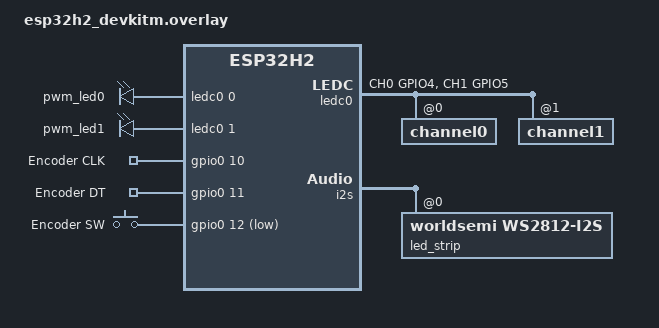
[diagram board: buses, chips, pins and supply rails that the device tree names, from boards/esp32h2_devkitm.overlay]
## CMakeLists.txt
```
# SPDX-License-Identifier: Apache-2.0

cmake_minimum_required(VERSION 3.20.0)

find_package(Zephyr REQUIRED HINTS $ENV{ZEPHYR_BASE})
project(smart_wake_up_light)

target_include_directories(app PRIVATE src)
target_sources(app PRIVATE
    src/main.c
    src/led_control.c
    src/encoder.c
    src/status_led.c
    src/logic/light_model.c
    src/logic/coap_payload.c
    src/logic/encoder_decoder.c
    src/network/ot_manager.c
    src/network/coap_wakeup_server.c
    src/network/srp_service.c
)

include(${CMAKE_CURRENT_SOURCE_DIR}/local/app.cmake OPTIONAL)
```

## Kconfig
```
mainmenu "Smart Wake Up Light"

menu "Wake-up light settings"

config WAKEUP_DEFAULT_BRIGHTNESS
    int "Initial night light brightness in percent"
    range 0 100
    default 10

config WAKEUP_MAX_DURATION_S
    int "Maximum remote wake-up duration in seconds"
    range 1 86400
    default 3600

config WAKEUP_ANIMATION_STEPS
    int "Target animation updates during wake-up"
    range 1 5000
    default 1000

config WAKEUP_BUTTON_DEBOUNCE_MS
    int "Encoder button debounce interval in milliseconds"
    range 20 1000
    default 200

config WAKEUP_ROUTER_PROMOTION_DELAY_S
    int "Wait before explicit router promotion, seconds"
    range 1 120
    default 5

config WAKEUP_SRP_HOST_NAME
    string "SRP host name"
    default "smart-wakeup-light-h2"

config WAKEUP_SRP_INSTANCE_NAME
    string "SRP service instance name"
    default "Smart Wakeup Light H2"

endmenu

orsource "local/Kconfig"

source "Kconfig.zephyr"
```

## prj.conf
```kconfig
# Rotary encoder
CONFIG_GPIO=y

# LED Strip
CONFIG_PWM=y

# Application
CONFIG_MAIN_STACK_SIZE=5096
CONFIG_BOOT_DELAY=500
CONFIG_LOG=y


# Openthread and Coap
CONFIG_NETWORKING=y
CONFIG_NET_L2_OPENTHREAD=y
CONFIG_COAP=y
CONFIG_OPENTHREAD_COAP=y
CONFIG_OPENTHREAD_MLE_INFORM_PREVIOUS_PARENT_ON_REATTACH=y
CONFIG_OPENTHREAD_POWER_SUPPLY_EXTERNAL_STABLE=y
CONFIG_OPENTHREAD_PARENT_SEARCH=y
CONFIG_OPENTHREAD_FTD=y


CONFIG_NET_BUF_RX_COUNT=32
CONFIG_NET_BUF_TX_COUNT=32
CONFIG_NET_PKT_RX_COUNT=10
CONFIG_NET_PKT_TX_COUNT=10

# SRP
CONFIG_OPENTHREAD_SRP_CLIENT=y
CONFIG_OPENTHREAD_NETDIAG_VENDOR_INFO=y

## Important to get an IP reachable from out of the thread network
CONFIG_OPENTHREAD_SLAAC=y

# Stack config
CONFIG_MBEDTLS_HEAP_SIZE=8192



# Flash and NVS
CONFIG_FLASH=y
CONFIG_FLASH_PAGE_LAYOUT=y
CONFIG_FLASH_MAP=y
CONFIG_NVS=y

# Settings Subsystem bind to NVS
CONFIG_SETTINGS=y
CONFIG_SETTINGS_NVS=y

CONFIG_OPENTHREAD_SETTINGS_RAM=n

# RGB STATUS LED
CONFIG_I2S=y
CONFIG_LED_STRIP=y
CONFIG_WS2812_STRIP_I2S=y
```

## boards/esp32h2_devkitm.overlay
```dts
#include <zephyr/dt-bindings/pwm/pwm.h>
#include <zephyr/dt-bindings/led/led.h>


/ {
    aliases {
        pwm-ww = &pwm_led1;
        pwm-cw = &pwm_led0;
        enc-clk = &enc_clk_node;
        enc-dt = &enc_dt_node;
        enc-sw = &enc_sw_node;
        led-strip = &led_strip;
    };

    pwmleds {
        compatible = "pwm-leds";
        pwm_led0: pwm_led_0 {
            pwms = <&ledc0 0 1000000 PWM_POLARITY_NORMAL>;
        };
        pwm_led1: pwm_led_1 {
            pwms = <&ledc0 1 1000000 PWM_POLARITY_NORMAL>;
        };
    };

    gpio_keys {
        compatible = "gpio-keys";
        enc_clk_node: enc_clk {
            gpios = <&gpio0 10 (GPIO_ACTIVE_HIGH | GPIO_PULL_UP)>;
            label = "Encoder CLK";
        };
        enc_dt_node: enc_dt {
            gpios = <&gpio0 11 (GPIO_ACTIVE_HIGH | GPIO_PULL_UP)>;
            label = "Encoder DT";
        };
        enc_sw_node: enc_sw {
            gpios = <&gpio0 12 (GPIO_ACTIVE_LOW | GPIO_PULL_UP)>;
            label = "Encoder SW";
        };
    };
};

&pinctrl {
    ledc0_default: ledc0_default {
        group1 {
            pinmux = <LEDC_CH0_GPIO4>,<LEDC_CH1_GPIO5>;
            output-enable;
        };
    };
};

&ledc0 {
    pinctrl-0 = <&ledc0_default>;
    pinctrl-names = "default";
    status = "okay";
    #address-cells = <1>;
    #size-cells = <0>;
    channel0@0 {
        reg = <0>;
        timer = <0>;
    };
    channel1@1 {
        reg = <1>;
        timer = <0>;
    };
};

&i2s_default {
    group1 {
                pinmux = <I2S_O_SD_GPIO8>;
            };
};

i2s_led: &i2s {
    status = "okay";

    dmas = <&dma 3>;
    dma-names = "tx";

    led_strip: ws2812@0 {
        compatible = "worldsemi,ws2812-i2s";

        reg = <0>;
        chain-length = <1>;
        color-mapping = <LED_COLOR_ID_GREEN
        LED_COLOR_ID_RED
        LED_COLOR_ID_BLUE>;
        reset-delay = <500>;
    };
};

&dma {
    status = "okay";
};
```

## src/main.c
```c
#include <openthread/coap.h>
#include <zephyr/kernel.h>
#include <zephyr/logging/log.h>

#include "encoder.h"
#include "led_control.h"
#include "network/coap_wakeup_server.h"
#include "network/ot_manager.h"
#include "network/srp_service.h"
#include "status_led.h"

LOG_MODULE_REGISTER(wake_up_main, LOG_LEVEL_INF);

static const struct ot_manager_policy thread_policy = {
    .router_promotion_delay_s = CONFIG_WAKEUP_ROUTER_PROMOTION_DELAY_S,
    .force_router_promotion = true,
    .detach_on_leader = true,
};

static const struct srp_service_config srp_config = {
    .host_name = CONFIG_WAKEUP_SRP_HOST_NAME,
    .instance_name = CONFIG_WAKEUP_SRP_INSTANCE_NAME,
    .service_type = "_smart-wakeup._udp",
    .resource_path = "/wakeup",
    .version = "1",
    .port = OT_DEFAULT_COAP_PORT,
};

/* Translate Thread roles into the indicator color. */
static void on_thread_role(otDeviceRole role, void *context) {
    ARG_UNUSED(context);
    switch (role) {
    case OT_DEVICE_ROLE_ROUTER:
        status_led_set(0, 0, 0);
        break;
    case OT_DEVICE_ROLE_CHILD:
        status_led_set(0, 20, 0);
        break;
    case OT_DEVICE_ROLE_DETACHED:
        status_led_set(20, 15, 0);
        break;
    case OT_DEVICE_ROLE_LEADER:
    case OT_DEVICE_ROLE_DISABLED:
        status_led_set(20, 0, 0);
        break;
    }
}

/* Initialize device services and start the Thread application. */
int main(void) {
    int error = led_control_init();
    if (error != 0) {
        LOG_ERR("Light control initialization failed: %d", error);
        return error;
    }
    error = encoder_init();
    if (error != 0) {
        LOG_ERR("Encoder initialization failed: %d", error);
        return error;
    }
    status_led_init();
    error = ot_manager_init(&thread_policy, on_thread_role, NULL);
    if (error != 0) {
        LOG_ERR("OpenThread initialization failed: %d", error);
        return error;
    }
    error = coap_wakeup_server_start(ot_manager_instance());
    if (error != 0) {
        LOG_ERR("CoAP initialization failed: %d", error);
        ot_manager_deinit();
        return error;
    }
    error = srp_service_register(ot_manager_instance(), &srp_config);
    if (error != 0) {
        LOG_ERR("SRP initialization failed: %d", error);
        coap_wakeup_server_stop();
        ot_manager_deinit();
        return error;
    }
    error = ot_manager_start();
    if (error != 0) {
        LOG_ERR("Thread start failed: %d", error);
        coap_wakeup_server_stop();
        ot_manager_deinit();
        return error;
    }
    LOG_INF("Smart wake-up light initialized");
    return 0;
}
```

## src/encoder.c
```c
#include "encoder.h"
#include "led_control.h"
#include "logic/encoder_decoder.h"

#include <errno.h>
#include <zephyr/device.h>
#include <zephyr/drivers/gpio.h>
#include <zephyr/kernel.h>
#include <zephyr/logging/log.h>
#include <zephyr/sys/atomic.h>

LOG_MODULE_REGISTER(encoder, LOG_LEVEL_INF);

static const struct gpio_dt_spec enc_clk = GPIO_DT_SPEC_GET(DT_ALIAS(enc_clk), gpios);
static const struct gpio_dt_spec enc_dt = GPIO_DT_SPEC_GET(DT_ALIAS(enc_dt), gpios);
static const struct gpio_dt_spec enc_sw = GPIO_DT_SPEC_GET(DT_ALIAS(enc_sw), gpios);

static struct gpio_callback clk_cb_data;
static struct gpio_callback dt_cb_data;
static struct gpio_callback sw_cb_data;
static struct k_spinlock input_lock;
static struct encoder_decoder decoder;
static uint32_t last_button_press_ms;
static bool button_seen;
static atomic_t pending_rotation;
static atomic_t pending_presses;
K_SEM_DEFINE(input_signal, 0, 1);
K_THREAD_STACK_DEFINE(input_stack, 1536);
static struct k_thread input_thread;

/* Forward accumulated encoder turns and button presses to the light controller. */
static void input_thread_entry(void *p1, void *p2, void *p3) {
    ARG_UNUSED(p1);
    ARG_UNUSED(p2);
    ARG_UNUSED(p3);
    while (true) {
        k_sem_take(&input_signal, K_FOREVER);
        atomic_val_t presses = atomic_set(&pending_presses, 0);
        for (atomic_val_t i = 0; i < presses; ++i) {
            int error = led_control_toggle();
            if (error != 0) {
                LOG_WRN("Button event rejected: %d", error);
            }
        }
        atomic_val_t rotation = atomic_set(&pending_rotation, 0);
        while (rotation != 0) {
            int8_t step = rotation > 0 ? (int8_t)MIN(rotation, 100) : (int8_t)MAX(rotation, -100);
            int error = led_control_adjust_brightness(step);
            if (error != 0) {
                LOG_WRN("Encoder step rejected: %d", error);
                atomic_add(&pending_rotation, rotation);
                k_sleep(K_MSEC(10));
                k_sem_give(&input_signal);
                break;
            }
            rotation -= step;
        }
    }
}

/* Debounce button presses in the GPIO interrupt callback. */
static void sw_pressed(const struct device *dev, struct gpio_callback *cb, uint32_t pins) {
    ARG_UNUSED(dev);
    ARG_UNUSED(cb);
    ARG_UNUSED(pins);
    uint32_t now = k_uptime_get_32();
    k_spinlock_key_t key = k_spin_lock(&input_lock);
    if (button_seen && now - last_button_press_ms < CONFIG_WAKEUP_BUTTON_DEBOUNCE_MS) {
        k_spin_unlock(&input_lock, key);
        return;
    }
    button_seen = true;
    last_button_press_ms = now;
    atomic_inc(&pending_presses);
    k_spin_unlock(&input_lock, key);
    k_sem_give(&input_signal);
}

/* Decode transitions and accumulate detents from GPIO interrupts. */
static void encoder_changed(const struct device *dev, struct gpio_callback *cb, uint32_t pins) {
    ARG_UNUSED(dev);
    ARG_UNUSED(cb);
    ARG_UNUSED(pins);
    k_spinlock_key_t key = k_spin_lock(&input_lock);
    int clk = gpio_pin_get_dt(&enc_clk);
    int dt = gpio_pin_get_dt(&enc_dt);
    if (clk >= 0 && dt >= 0) {
        int8_t step = encoder_decoder_update(&decoder, (uint8_t)((clk << 1) | dt));
        if (step != 0) {
            atomic_add(&pending_rotation, step);
            k_sem_give(&input_signal);
        }
    }
    k_spin_unlock(&input_lock, key);
}

int encoder_init(void) {
    const struct gpio_dt_spec *pins[] = {&enc_clk, &enc_dt, &enc_sw};
    for (size_t i = 0; i < ARRAY_SIZE(pins); ++i) {
        if (!gpio_is_ready_dt(pins[i])) {
            return -ENODEV;
        }
        int error = gpio_pin_configure_dt(pins[i], GPIO_INPUT);
        if (error != 0) {
            return error;
        }
    }
    int clk = gpio_pin_get_dt(&enc_clk);
    int dt = gpio_pin_get_dt(&enc_dt);
    if (clk < 0 || dt < 0) {
        return clk < 0 ? clk : dt;
    }
    encoder_decoder_init(&decoder, (uint8_t)((clk << 1) | dt));
    gpio_init_callback(&clk_cb_data, encoder_changed, BIT(enc_clk.pin));
    gpio_init_callback(&dt_cb_data, encoder_changed, BIT(enc_dt.pin));
    gpio_init_callback(&sw_cb_data, sw_pressed, BIT(enc_sw.pin));
    struct gpio_callback *callbacks[] = {&clk_cb_data, &dt_cb_data, &sw_cb_data};
    for (size_t i = 0; i < ARRAY_SIZE(pins); ++i) {
        int error = gpio_add_callback(pins[i]->port, callbacks[i]);
        if (error != 0) {
            for (size_t j = 0; j < i; ++j) {
                gpio_remove_callback(pins[j]->port, callbacks[j]);
            }
            return error;
        }
    }
    k_thread_create(&input_thread, input_stack, K_THREAD_STACK_SIZEOF(input_stack),
                    input_thread_entry, NULL, NULL, NULL, 5, 0, K_NO_WAIT);
    if (IS_ENABLED(CONFIG_THREAD_NAME)) {
        k_thread_name_set(&input_thread, "light_input");
    }
    for (size_t i = 0; i < ARRAY_SIZE(pins); ++i) {
        int error = gpio_pin_interrupt_configure_dt(pins[i], i == 2 ? GPIO_INT_EDGE_TO_ACTIVE
                                                                    : GPIO_INT_EDGE_BOTH);
        if (error != 0) {
            for (size_t j = 0; j <= i; ++j) {
                gpio_pin_interrupt_configure_dt(pins[j], GPIO_INT_DISABLE);
            }
            for (size_t j = 0; j < ARRAY_SIZE(pins); ++j) {
                gpio_remove_callback(pins[j]->port, callbacks[j]);
            }
            k_thread_abort(&input_thread);
            return error;
        }
    }
    return 0;
}
```

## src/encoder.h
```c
#ifndef ENCODER_H
#define ENCODER_H

/**Initialize the encoder control module. Return 0 on success, negative error code on failure.*/
int encoder_init(void);

#endif
```

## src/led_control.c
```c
#include "led_control.h"
#include "logic/light_model.h"

#include <errno.h>
#include <stdint.h>
#include <zephyr/device.h>
#include <zephyr/drivers/pwm.h>
#include <zephyr/kernel.h>
#include <zephyr/logging/log.h>

LOG_MODULE_REGISTER(led_control, LOG_LEVEL_INF);

static const struct pwm_dt_spec pwm_ww = PWM_DT_SPEC_GET(DT_ALIAS(pwm_ww));
static const struct pwm_dt_spec pwm_cw = PWM_DT_SPEC_GET(DT_ALIAS(pwm_cw));
static struct light_state light;
static uint16_t wakeup_progress;
static int64_t wakeup_started_ms;
static uint64_t wakeup_duration_ms;
static struct k_work_delayable wakeup_work;
static struct k_work command_work;
static struct k_work_q light_queue;
static bool initialized;
K_THREAD_STACK_DEFINE(light_stack, 2048);

enum command_type { COMMAND_TOGGLE, COMMAND_ADJUST, COMMAND_WAKEUP };

struct light_command {
    enum command_type type;
    int8_t step;
    uint32_t duration_s;
};

K_MSGQ_DEFINE(command_msgq, sizeof(struct light_command), 32, 4);

/* Calculate and apply PWM outputs for the current state. */
static void update_leds(void) {
    struct light_levels levels = light_model_output(&light, wakeup_progress);
    uint32_t warm_pulse = (uint32_t)(((uint64_t)pwm_ww.period * levels.warm_duty_bp) / 10000);
    uint32_t cold_pulse = (uint32_t)(((uint64_t)pwm_cw.period * levels.cold_duty_bp) / 10000);
    int warm_err = pwm_set_pulse_dt(&pwm_ww, warm_pulse);
    int cold_err = pwm_set_pulse_dt(&pwm_cw, cold_pulse);
    if (warm_err || cold_err) {
        LOG_ERR("PWM update failed: warm=%d cold=%d", warm_err, cold_err);
    }
}

/* Advance the time-based wake-up animation on the light workqueue. */
static void wakeup_handler(struct k_work *work) {
    ARG_UNUSED(work);
    if (light.mode != LIGHT_MODE_WAKEUP) {
        return;
    }
    uint64_t elapsed_ms = (uint64_t)(k_uptime_get() - wakeup_started_ms);
    if (elapsed_ms >= wakeup_duration_ms) {
        wakeup_progress = 1000;
        update_leds();
        LOG_INF("Wake-up complete");
        return;
    }
    wakeup_progress = (uint16_t)((elapsed_ms * 1000) / wakeup_duration_ms);
    update_leds();
    uint64_t next_step_ms = MAX(1ULL, (wakeup_duration_ms / CONFIG_WAKEUP_ANIMATION_STEPS));
    uint64_t remaining_ms = wakeup_duration_ms - elapsed_ms;
    uint32_t delay_ms = (uint32_t)MIN(next_step_ms, remaining_ms);
    k_work_reschedule_for_queue(&light_queue, &wakeup_work, K_MSEC(delay_ms));
}

/* Process queued commands in order and update light state. */
static void command_handler(struct k_work *work) {
    ARG_UNUSED(work);
    struct light_command command;
    unsigned int budget = 16;
    while (budget-- && k_msgq_get(&command_msgq, &command, K_NO_WAIT) == 0) {
        k_work_cancel_delayable(&wakeup_work);
        switch (command.type) {
        case COMMAND_TOGGLE:
            light_model_toggle(&light);
            break;
        case COMMAND_ADJUST:
            light_model_adjust(&light, command.step);
            break;
        case COMMAND_WAKEUP:
            light_model_start_wakeup(&light);
            wakeup_progress = 0;
            wakeup_started_ms = k_uptime_get();
            wakeup_duration_ms = (uint64_t)command.duration_s * 1000ULL;
            k_work_reschedule_for_queue(&light_queue, &wakeup_work, K_MSEC(1));
            break;
        }
        update_leds();
    }
    if (k_msgq_num_used_get(&command_msgq) != 0) {
        k_work_submit_to_queue(&light_queue, &command_work);
    }
}

/* Enqueue a light command or report backpressure. */
static int submit_command(struct light_command command) {
    if (!initialized) {
        return -EAGAIN;
    }
    int error = k_msgq_put(&command_msgq, &command, K_NO_WAIT);
    if (error != 0) {
        LOG_WRN("Light command queue full: %d", error);
        return -ENOBUFS;
    }
    int submitted = k_work_submit_to_queue(&light_queue, &command_work);
    if (submitted < 0) {
        LOG_ERR("Light command submission failed: %d", submitted);
        return submitted;
    }
    return 0;
}

int led_control_init(void) {
    if (!pwm_is_ready_dt(&pwm_ww) || !pwm_is_ready_dt(&pwm_cw)) {
        return -ENODEV;
    }
    light_model_init(&light, CONFIG_WAKEUP_DEFAULT_BRIGHTNESS);
    wakeup_progress = 0;
    int error_warm = pwm_set_pulse_dt(&pwm_ww, 0);
    int error_cold = pwm_set_pulse_dt(&pwm_cw, 0);
    if (error_warm || error_cold) {
        LOG_ERR("Initial PWM off failed: warm=%d cold=%d", error_warm, error_cold);
        return -EIO;
    }
    k_work_init_delayable(&wakeup_work, wakeup_handler);
    k_work_init(&command_work, command_handler);
    k_work_queue_start(&light_queue, light_stack, K_THREAD_STACK_SIZEOF(light_stack), 5, NULL);
    if (IS_ENABLED(CONFIG_THREAD_NAME)) {
        k_thread_name_set(&light_queue.thread, "light_control");
    }
    initialized = true;
    return 0;
}

int led_control_toggle(void) {
    return submit_command((struct light_command){.type = COMMAND_TOGGLE});
}

int led_control_adjust_brightness(int8_t step) {
    return submit_command((struct light_command){.type = COMMAND_ADJUST, .step = step});
}

int led_control_start_wakeup(uint32_t duration_s) {
    if (duration_s == 0 || duration_s > CONFIG_WAKEUP_MAX_DURATION_S) {
        return -EINVAL;
    }
    return submit_command((struct light_command){.type = COMMAND_WAKEUP, .duration_s = duration_s});
}
```

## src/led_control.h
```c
#ifndef LED_CONTROL_H
#define LED_CONTROL_H

#include <stdint.h>

/** Initialize the PWM channels and start the command workqueue. Return 0 on success or a negative
 * errno. */
int led_control_init(void);
/** Queue a toggle between OFF and NIGHTLIGHT; during WAKEUP, switch OFF. Return 0 if queued,
 * negative errno otherwise. */
int led_control_toggle(void);
/** Queue an encoder brightness delta; positive values brighten warm white. Return 0 if queued,
 * negative errno otherwise. */
int led_control_adjust_brightness(int8_t step);
/** Queue a new wake-up animation of duration_s seconds; duration must be within configured limits.
 * Return 0 if queued, negative errno otherwise. */
int led_control_start_wakeup(uint32_t duration_s);

#endif
```

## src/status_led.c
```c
#include "status_led.h"

#include <zephyr/device.h>
#include <zephyr/drivers/led_strip.h>
#include <zephyr/kernel.h>
#include <zephyr/logging/log.h>

LOG_MODULE_REGISTER(status_led, LOG_LEVEL_INF);

#if DT_HAS_ALIAS(led_strip)
static const struct device *const strip = DEVICE_DT_GET(DT_ALIAS(led_strip));
#else
static const struct device *const strip = NULL;
#endif

struct led_color {
    uint8_t red;
    uint8_t green;
    uint8_t blue;
};

K_MSGQ_DEFINE(status_queue, sizeof(struct led_color), 4, 4);
K_THREAD_STACK_DEFINE(status_stack, 1024);
static struct k_thread status_thread;
static bool available;

/* Apply the latest requested indicator color without blocking the caller. */
static void status_thread_entry(void *p1, void *p2, void *p3) {
    ARG_UNUSED(p1);
    ARG_UNUSED(p2);
    ARG_UNUSED(p3);
    struct led_color msg;
    int previous_error = 0;
    while (true) {
        k_msgq_get(&status_queue, &msg, K_FOREVER);
        while (k_msgq_get(&status_queue, &msg, K_NO_WAIT) == 0) {
        }
        struct led_rgb color = {.r = msg.red, .g = msg.green, .b = msg.blue};
        int error = led_strip_update_rgb(strip, &color, 1);
        if (error != previous_error) {
            if (error != 0) {
                LOG_WRN("Status LED write failed: %d", error);
            } else if (previous_error != 0) {
                LOG_INF("Status LED recovered");
            }
            previous_error = error;
        }
    }
}

int status_led_init(void) {
    if (strip == NULL || !device_is_ready(strip)) {
        LOG_WRN("Status LED unavailable; running without indicator");
        return 0;
    }
    available = true;
    k_thread_create(&status_thread, status_stack, K_THREAD_STACK_SIZEOF(status_stack),
                    status_thread_entry, NULL, NULL, NULL, 7, 0, K_NO_WAIT);
    if (IS_ENABLED(CONFIG_THREAD_NAME)) {
        k_thread_name_set(&status_thread, "status_led");
    }
    return 0;
}

void status_led_set(uint8_t red, uint8_t green, uint8_t blue) {
    if (!available) {
        return;
    }
    struct led_color msg = {.red = red, .green = green, .blue = blue};
    if (k_msgq_put(&status_queue, &msg, K_NO_WAIT) != 0) {
        struct led_color discarded;
        k_msgq_get(&status_queue, &discarded, K_NO_WAIT);
        if (k_msgq_put(&status_queue, &msg, K_NO_WAIT) != 0) {
            LOG_WRN("Status LED event dropped");
        }
    }
}
```

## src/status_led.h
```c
#ifndef STATUS_LED_H
#define STATUS_LED_H

#include <stdint.h>

/** Start the optional RGB indicator. Missing hardware is nonfatal and leaves it disabled. */
int status_led_init(void);
/** Request an RGB indicator color; if overloaded, the latest color takes precedence. */
void status_led_set(uint8_t red, uint8_t green, uint8_t blue);

#endif
```
